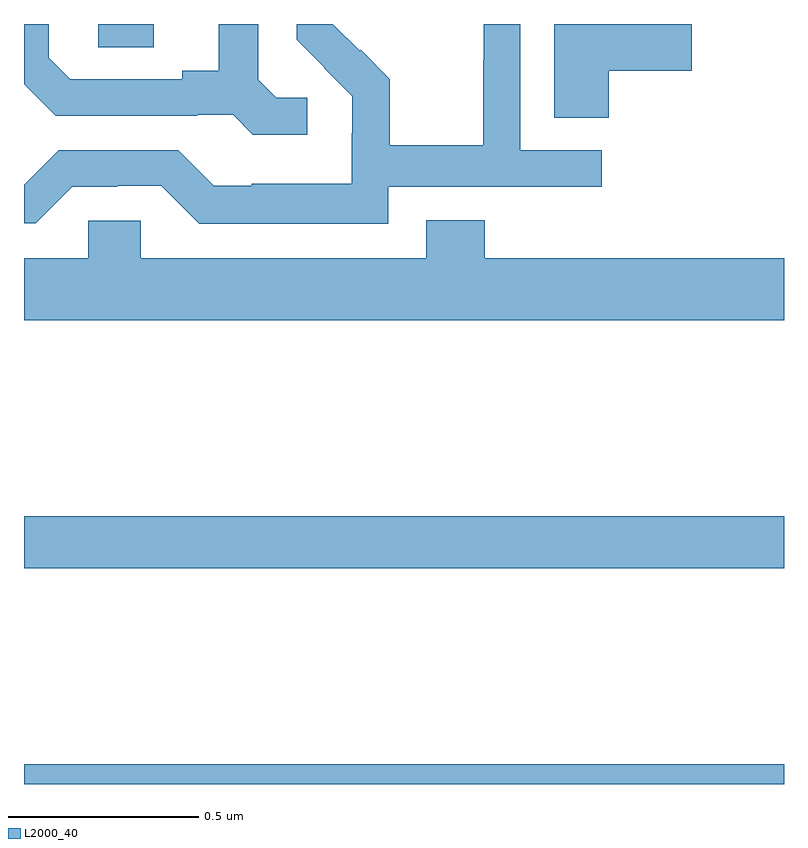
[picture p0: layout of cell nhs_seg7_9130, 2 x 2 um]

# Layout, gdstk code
import gdstk
lib = gdstk.Library(unit=1e-6, precision=1e-09)
def R(c, l, rs):  # rectangles x0, y0, x1, y1
    for r in rs: c.add(gdstk.rectangle(r[:2], r[2:], *l))
def P(c, l, *ps):  # polygons
    for p in ps: c.add(gdstk.Polygon(p, *l))
L2000_40 = (2000, 40)

nhs_seg7_9130 = lib.new_cell('nhs_seg7_9130')
R(nhs_seg7_9130, L2000_40, [(233,1062,235,1062.052), (233,1062.568,235,1062.704), (233.196,1063.939,233.341,1064)])
P(nhs_seg7_9130, L2000_40, [(233.746,1063.806),(233.664,1063.806),(233.617,1063.853),(233.617,1064),(233.513,1064),(233.513,1063.877),(233.417,1063.877),(233.417,1063.854),(233.122,1063.854),(233.065,1063.911),(233.065,1064),(233,1064),(233,1063.842),(233.084,1063.758),(233.456,1063.758),(233.456,1063.761),(233.55,1063.761),(233.602,1063.709),(233.746,1063.709)],
  [(234.539,1063.877),(234.757,1063.877),(234.757,1064),(234.395,1064),(234.395,1063.753),(234.539,1063.753)],
  [(233.958,1063.572),(234.52,1063.572),(234.52,1063.668),(234.306,1063.668),(234.306,1064),(234.21,1064),(234.21,1063.904),(234.208,1063.904),(234.208,1063.681),(233.963,1063.681),(233.963,1063.855),(233.886,1063.932),(233.883,1063.929),(233.813,1064),(233.718,1064),(233.718,1063.958),(233.791,1063.885),(233.79,1063.884),(233.864,1063.81),(233.864,1063.713),(233.862,1063.713),(233.862,1063.579),(233.599,1063.579),(233.599,1063.575),(233.499,1063.575),(233.406,1063.668),(233.091,1063.668),(233,1063.577),(233,1063.476),(233.031,1063.476),(233.127,1063.572),(233.246,1063.572),(233.246,1063.575),(233.361,1063.575),(233.461,1063.475),(233.958,1063.475)],
  [(235,1063.384),(234.212,1063.384),(234.212,1063.483),(234.059,1063.483),(234.059,1063.384),(233.307,1063.384),(233.307,1063.482),(233.169,1063.482),(233.169,1063.384),(233,1063.384),(233,1063.22),(235,1063.22)])

lib.write_gds('nhs_seg7_9130.gds')
